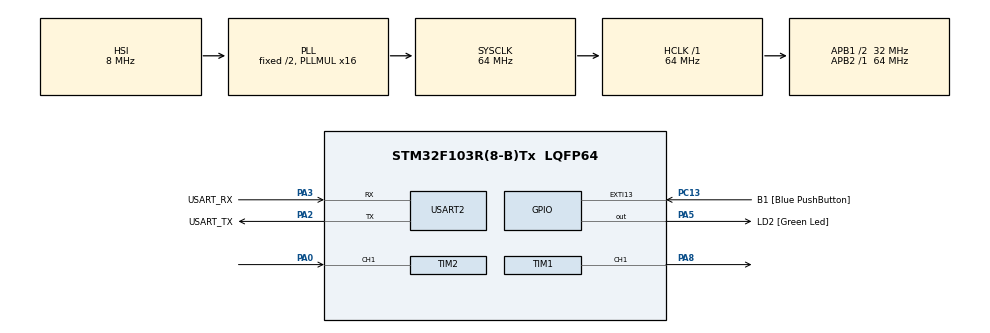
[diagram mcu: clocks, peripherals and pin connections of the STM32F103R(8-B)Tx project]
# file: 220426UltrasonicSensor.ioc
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Mcu.Family=STM32F1
Mcu.Name=STM32F103R(8-B)Tx
Mcu.Package=LQFP64
NVIC.EXTI15_10_IRQn=true\:0\:0\:false\:false\:true\:true\:true\:true
NVIC.PriorityGroup=NVIC_PRIORITYGROUP_4
NVIC.TIM1_CC_IRQn=true\:0\:0\:false\:false\:true\:true\:true\:true
NVIC.TIM2_IRQn=true\:0\:0\:false\:false\:true\:true\:true\:true
PA0-WKUP.Signal=S_TIM2_CH1_ETR
PA13.GPIO_Label=TMS
PA13.Mode=Serial_Wire
PA13.Signal=SYS_JTMS-SWDIO
PA14.GPIO_Label=TCK
PA14.Mode=Serial_Wire
PA14.Signal=SYS_JTCK-SWCLK
PA2.GPIO_Label=USART_TX
PA2.GPIO_Mode=GPIO_MODE_AF_PP
PA2.GPIO_PuPd=GPIO_NOPULL
PA2.GPIO_Speed=GPIO_SPEED_FREQ_LOW
PA2.Mode=Asynchronous
PA2.Signal=USART2_TX
PA3.GPIO_Label=USART_RX
PA3.GPIO_Mode=GPIO_MODE_AF_PP
PA3.GPIO_PuPd=GPIO_NOPULL
PA3.GPIO_Speed=GPIO_SPEED_FREQ_LOW
PA3.Mode=Asynchronous
PA3.Signal=USART2_RX
PA5.GPIO_Label=LD2 [Green Led]
PA5.GPIO_ModeDefaultOutputPP=GPIO_MODE_OUTPUT_PP
PA5.GPIO_PuPd=GPIO_NOPULL
PA5.GPIO_Speed=GPIO_SPEED_FREQ_LOW
PA5.Signal=GPIO_Output
PA8.Signal=S_TIM1_CH1
PB3.GPIO_Label=SWO
PB3.Signal=SYS_JTDO-TRACESWO
PC13-TAMPER-RTC.GPIO_Label=B1 [Blue PushButton]
PC13-TAMPER-RTC.GPIO_PuPd=GPIO_NOPULL
PC13-TAMPER-RTC.Signal=GPXTI13
PC14-OSC32_IN.Mode=LSE-External-Oscillator
PC14-OSC32_IN.Signal=RCC_OSC32_IN
PC15-OSC32_OUT.Mode=LSE-External-Oscillator
PC15-OSC32_OUT.Signal=RCC_OSC32_OUT
PD0-OSC_IN.Mode=HSE-External-Clock-Source
PD0-OSC_IN.Signal=RCC_OSC_IN
PD1-OSC_OUT.Mode=HSE-External-Clock-Source
PD1-OSC_OUT.Signal=RCC_OSC_OUT
ProjectManager.HeapSize=0x200
ProjectManager.StackSize=0x400
ProjectManager.TargetToolchain=STM32CubeIDE
RCC.AHBFreq_Value=64000000
RCC.APB1CLKDivider=RCC_HCLK_DIV2
RCC.APB1Freq_Value=32000000
RCC.APB1TimFreq_Value=64000000
RCC.APB2Freq_Value=64000000
RCC.APB2TimFreq_Value=64000000
RCC.HCLKFreq_Value=64000000
RCC.PLLMUL=RCC_PLL_MUL16
RCC.RTCClockSelection=RCC_RTCCLKSOURCE_LSE
RCC.SYSCLKFreq_VALUE=64000000
RCC.SYSCLKSource=RCC_SYSCLKSOURCE_PLLCLK
RCC.USBFreq_Value=64000000
SH.S_TIM1_CH1.0=TIM1_CH1,PWM Generation1 CH1
SH.S_TIM2_CH1_ETR.0=TIM2_CH1,Input_Capture1_from_TI1
TIM1.Channel-PWM\ Generation1\ CH1=TIM_CHANNEL_1
TIM1.Period=1000-1
TIM1.Prescaler=64-1
TIM1.Pulse-PWM\ Generation1\ CH1=900-1
TIM2.Channel-Input_Capture1_from_TI1=TIM_CHANNEL_1
TIM2.Prescaler=64-1
USART2.VirtualMode=VM_ASYNC
VP_TIM1_VS_ClockSourceINT.Mode=Internal
VP_TIM2_VS_ClockSourceINT.Mode=Internal
board=NUCLEO-F103RB

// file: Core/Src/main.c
/* USER CODE BEGIN Header */
/**
  ******************************************************************************
  * @file           : main.c
  * @brief          : Main program body
  ******************************************************************************
  * @attention
  *
  * Copyright (c) 2022 STMicroelectronics.
  * All rights reserved.
  *
  * This software is licensed under terms that can be found in the LICENSE file
  * in the root directory of this software component.
  * If no LICENSE file comes with this software, it is provided AS-IS.
  *
  ******************************************************************************
  */
/* USER CODE END Header */
#include "main.h"

 TIM_HandleTypeDef htim1;
TIM_HandleTypeDef htim2;

UART_HandleTypeDef huart2;

void SystemClock_Config(void);
static void MX_GPIO_Init(void);
static void MX_USART2_UART_Init(void);
static void MX_TIM1_Init(void);
static void MX_TIM2_Init(void);

/* USER CODE BEGIN 0 */
#ifdef __GNUC__
/* With GCC, small printf (option LD Linker->Libraries->Small printf
   set to 'Yes') calls __io_putchar() */
#define PUTCHAR_PROTOTYPE int __io_putchar(int ch)
#else
#define PUTCHAR_PROTOTYPE int fputc(int ch, FILE *f)
#endif /* __GNUC__ */
void SystemClock_Config(void);
/* USER CODE END 0 */

int main(void)
{

  /* MCU Configuration--------------------------------------------------------*/

  /* Reset of all peripherals, Initializes the Flash interface and the Systick. */
  HAL_Init();

  /* Configure the system clock */
  SystemClock_Config();

  /* Initialize all configured peripherals */
  MX_GPIO_Init();
  MX_USART2_UART_Init();
  MX_TIM1_Init();
  MX_TIM2_Init();
  /* USER CODE BEGIN 2 */
  HAL_TIM_PWM_Start(&htim1, TIM_CHANNEL_1);
  HAL_TIM_IC_Start_IT(&htim2, TIM_CHANNEL_1);
  /* USER CODE END 2 */

  /* Infinite loop */
  while (1)
  {

  }
}

void SystemClock_Config(void)
{
  RCC_OscInitTypeDef RCC_OscInitStruct = {0};
  RCC_ClkInitTypeDef RCC_ClkInitStruct = {0};

  /** Initializes the RCC Oscillators according to the specified parameters
  * in the RCC_OscInitTypeDef structure.
  */
  RCC_OscInitStruct.OscillatorType = RCC_OSCILLATORTYPE_HSI;
  RCC_OscInitStruct.HSIState = RCC_HSI_ON;
  RCC_OscInitStruct.HSICalibrationValue = RCC_HSICALIBRATION_DEFAULT;
  RCC_OscInitStruct.PLL.PLLState = RCC_PLL_ON;
  RCC_OscInitStruct.PLL.PLLSource = RCC_PLLSOURCE_HSI_DIV2;
  RCC_OscInitStruct.PLL.PLLMUL = RCC_PLL_MUL16;
  if (HAL_RCC_OscConfig(&RCC_OscInitStruct) != HAL_OK)
  {
    Error_Handler();
  }

  /** Initializes the CPU, AHB and APB buses clocks
  */
  RCC_ClkInitStruct.ClockType = RCC_CLOCKTYPE_HCLK|RCC_CLOCKTYPE_SYSCLK
                              |RCC_CLOCKTYPE_PCLK1|RCC_CLOCKTYPE_PCLK2;
  RCC_ClkInitStruct.SYSCLKSource = RCC_SYSCLKSOURCE_PLLCLK;
  RCC_ClkInitStruct.AHBCLKDivider = RCC_SYSCLK_DIV1;
  RCC_ClkInitStruct.APB1CLKDivider = RCC_HCLK_DIV2;
  RCC_ClkInitStruct.APB2CLKDivider = RCC_HCLK_DIV1;

  if (HAL_RCC_ClockConfig(&RCC_ClkInitStruct, FLASH_LATENCY_2) != HAL_OK)
  {
    Error_Handler();
  }
}

static void MX_TIM1_Init(void)
{

  TIM_ClockConfigTypeDef sClockSourceConfig = {0};
  TIM_MasterConfigTypeDef sMasterConfig = {0};
  TIM_OC_InitTypeDef sConfigOC = {0};
  TIM_BreakDeadTimeConfigTypeDef sBreakDeadTimeConfig = {0};

  htim1.Instance = TIM1;
  htim1.Init.Prescaler = 64-1;
  htim1.Init.CounterMode = TIM_COUNTERMODE_UP;
  htim1.Init.Period = 1000-1;
  htim1.Init.ClockDivision = TIM_CLOCKDIVISION_DIV1;
  htim1.Init.RepetitionCounter = 0;
  htim1.Init.AutoReloadPreload = TIM_AUTORELOAD_PRELOAD_DISABLE;
  if (HAL_TIM_Base_Init(&htim1) != HAL_OK)
  {
    Error_Handler();
  }
  sClockSourceConfig.ClockSource = TIM_CLOCKSOURCE_INTERNAL;
  if (HAL_TIM_ConfigClockSource(&htim1, &sClockSourceConfig) != HAL_OK)
  {
    Error_Handler();
  }
  if (HAL_TIM_PWM_Init(&htim1) != HAL_OK)
  {
    Error_Handler();
  }
  sMasterConfig.MasterOutputTrigger = TIM_TRGO_RESET;
  sMasterConfig.MasterSlaveMode = TIM_MASTERSLAVEMODE_DISABLE;
  if (HAL_TIMEx_MasterConfigSynchronization(&htim1, &sMasterConfig) != HAL_OK)
  {
    Error_Handler();
  }
  sConfigOC.OCMode = TIM_OCMODE_PWM1;
  sConfigOC.Pulse = 100-1;
  sConfigOC.OCPolarity = TIM_OCPOLARITY_HIGH;
  sConfigOC.OCNPolarity = TIM_OCNPOLARITY_HIGH;
  sConfigOC.OCFastMode = TIM_OCFAST_DISABLE;
  sConfigOC.OCIdleState = TIM_OCIDLESTATE_RESET;
  sConfigOC.OCNIdleState = TIM_OCNIDLESTATE_RESET;
  if (HAL_TIM_PWM_ConfigChannel(&htim1, &sConfigOC, TIM_CHANNEL_1) != HAL_OK)
  {
    Error_Handler();
  }
  sBreakDeadTimeConfig.OffStateRunMode = TIM_OSSR_DISABLE;
  sBreakDeadTimeConfig.OffStateIDLEMode = TIM_OSSI_DISABLE;
  sBreakDeadTimeConfig.LockLevel = TIM_LOCKLEVEL_OFF;
  sBreakDeadTimeConfig.DeadTime = 0;
  sBreakDeadTimeConfig.BreakState = TIM_BREAK_DISABLE;
  sBreakDeadTimeConfig.BreakPolarity = TIM_BREAKPOLARITY_HIGH;
  sBreakDeadTimeConfig.AutomaticOutput = TIM_AUTOMATICOUTPUT_DISABLE;
  if (HAL_TIMEx_ConfigBreakDeadTime(&htim1, &sBreakDeadTimeConfig) != HAL_OK)
  {
    Error_Handler();
  }
  HAL_TIM_MspPostInit(&htim1);

}

static void MX_TIM2_Init(void)
{

  TIM_ClockConfigTypeDef sClockSourceConfig = {0};
  TIM_MasterConfigTypeDef sMasterConfig = {0};
  TIM_IC_InitTypeDef sConfigIC = {0};

  htim2.Instance = TIM2;
  htim2.Init.Prescaler = 64-1;
  htim2.Init.CounterMode = TIM_COUNTERMODE_UP;
  htim2.Init.Period = 65535;
  htim2.Init.ClockDivision = TIM_CLOCKDIVISION_DIV1;
  htim2.Init.AutoReloadPreload = TIM_AUTORELOAD_PRELOAD_DISABLE;
  if (HAL_TIM_Base_Init(&htim2) != HAL_OK)
  {
    Error_Handler();
  }
  sClockSourceConfig.ClockSource = TIM_CLOCKSOURCE_INTERNAL;
  if (HAL_TIM_ConfigClockSource(&htim2, &sClockSourceConfig) != HAL_OK)
  {
    Error_Handler();
  }
  if (HAL_TIM_IC_Init(&htim2) != HAL_OK)
  {
    Error_Handler();
  }
  sMasterConfig.MasterOutputTrigger = TIM_TRGO_RESET;
  sMasterConfig.MasterSlaveMode = TIM_MASTERSLAVEMODE_DISABLE;
  if (HAL_TIMEx_MasterConfigSynchronization(&htim2, &sMasterConfig) != HAL_OK)
  {
    Error_Handler();
  }
  sConfigIC.ICPolarity = TIM_INPUTCHANNELPOLARITY_RISING;
  sConfigIC.ICSelection = TIM_ICSELECTION_DIRECTTI;
  sConfigIC.ICPrescaler = TIM_ICPSC_DIV1;
  sConfigIC.ICFilter = 0;
  if (HAL_TIM_IC_ConfigChannel(&htim2, &sConfigIC, TIM_CHANNEL_1) != HAL_OK)
  {
    Error_Handler();
  }

}

static void MX_USART2_UART_Init(void)
{

  huart2.Instance = USART2;
  huart2.Init.BaudRate = 9600;
  huart2.Init.WordLength = UART_WORDLENGTH_8B;
  huart2.Init.StopBits = UART_STOPBITS_1;
  huart2.Init.Parity = UART_PARITY_NONE;
  huart2.Init.Mode = UART_MODE_TX_RX;
  huart2.Init.HwFlowCtl = UART_HWCONTROL_NONE;
  huart2.Init.OverSampling = UART_OVERSAMPLING_16;
  if (HAL_UART_Init(&huart2) != HAL_OK)
  {
    Error_Handler();
  }

}

static void MX_GPIO_Init(void)
{
  GPIO_InitTypeDef GPIO_InitStruct = {0};

  /* GPIO Ports Clock Enable */
  __HAL_RCC_GPIOC_CLK_ENABLE();
  __HAL_RCC_GPIOD_CLK_ENABLE();
  __HAL_RCC_GPIOA_CLK_ENABLE();
  __HAL_RCC_GPIOB_CLK_ENABLE();

  /*Configure GPIO pin Output Level */
  HAL_GPIO_WritePin(LD2_GPIO_Port, LD2_Pin, GPIO_PIN_RESET);

  /*Configure GPIO pin : B1_Pin */
  GPIO_InitStruct.Pin = B1_Pin;
  GPIO_InitStruct.Mode = GPIO_MODE_IT_RISING;
  GPIO_InitStruct.Pull = GPIO_NOPULL;
  HAL_GPIO_Init(B1_GPIO_Port, &GPIO_InitStruct);

  /*Configure GPIO pin : LD2_Pin */
  GPIO_InitStruct.Pin = LD2_Pin;
  GPIO_InitStruct.Mode = GPIO_MODE_OUTPUT_PP;
  GPIO_InitStruct.Pull = GPIO_NOPULL;
  GPIO_InitStruct.Speed = GPIO_SPEED_FREQ_LOW;
  HAL_GPIO_Init(LD2_GPIO_Port, &GPIO_InitStruct);

  /* EXTI interrupt init*/
  HAL_NVIC_SetPriority(EXTI15_10_IRQn, 0, 0);
  HAL_NVIC_EnableIRQ(EXTI15_10_IRQn);

}

/* USER CODE BEGIN 4 */
uint32_t IC1, IC2;
int Captureflag;
float freq;

void HAL_TIM_IC_CaptureCallback(TIM_HandleTypeDef *htim)
{
	if(htim->Channel == HAL_TIM_ACTIVE_CHANNEL_1)
	{
		if(Captureflag == 0)
		{
			IC1 = HAL_TIM_ReadCapturedValue(&htim2, TIM_CHANNEL_1);
			Captureflag = 1;
			__HAL_TIM_SET_CAPTUREPOLARITY(&htim2, TIM_CHANNEL_1, TIM_INPUTCHANNELPOLARITY_FALLING);
		}

		else if(Captureflag == 1)
		{
			IC2 = HAL_TIM_ReadCapturedValue(&htim2, TIM_CHANNEL_1);
			freq = 1 / ((IC2 - IC1) * 0.000001);
			__HAL_TIM_SET_COUNTER(&htim2, 0);
			__HAL_TIM_SET_CAPTUREPOLARITY(&htim2, TIM_CHANNEL_1, TIM_INPUTCHANNELPOLARITY_RISING);
			int t_us = IC2 - IC1;
			printf("time : %d\r\n", t_us);
			Captureflag = 0;
		}
	}
}

PUTCHAR_PROTOTYPE
{
  /* Place your implementation of fputc here */
  /* e.g. write a character to the USART1 and Loop until the end of transmission */
  HAL_UART_Transmit(&huart2, (uint8_t *)&ch, 1, 0xFFFF);

  return ch;
}
/* USER CODE END 4 */

void Error_Handler(void)
{
  __disable_irq();
  while (1)
  {
  }
}
